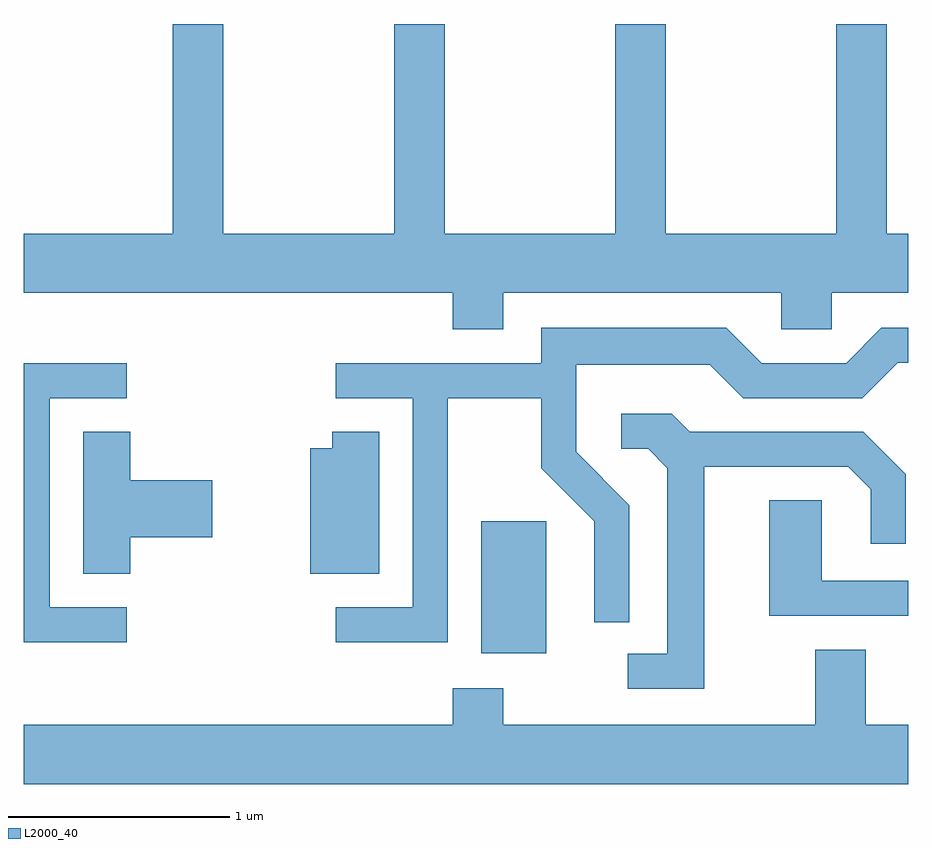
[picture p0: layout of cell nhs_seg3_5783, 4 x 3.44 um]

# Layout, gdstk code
import gdstk
lib = gdstk.Library(unit=1e-6, precision=1e-09)
def R(c, l, rs):  # rectangles x0, y0, x1, y1
    for r in rs: c.add(gdstk.rectangle(r[:2], r[2:], *l))
def P(c, l, *ps):  # polygons
    for p in ps: c.add(gdstk.Polygon(p, *l))
L2000_40 = (2000, 40)

nhs_seg3_5783 = lib.new_cell('nhs_seg3_5783')
R(nhs_seg3_5783, L2000_40, [(357.681,1131.046,357.974,1131.644)])
P(nhs_seg3_5783, L2000_40, [(357.779,1132.676),(359.036,1132.676),(359.036,1132.511),(359.264,1132.511),(359.264,1132.676),(359.611,1132.676),(359.611,1132.944),(359.514,1132.944),(359.514,1133.892),(359.286,1133.892),(359.286,1132.944),(358.514,1132.944),(358.514,1133.892),(358.286,1133.892),(358.286,1132.944),(357.514,1132.944),(357.514,1133.892),(357.286,1133.892),(357.286,1132.944),(356.514,1132.944),(356.514,1133.892),(356.286,1133.892),(356.286,1132.944),(355.611,1132.944),(355.611,1132.676),(357.551,1132.676),(357.551,1132.511),(357.779,1132.511)],
  [(357.529,1132.201),(357.951,1132.201),(357.951,1131.884),(358.191,1131.644),(358.191,1131.188),(358.349,1131.188),(358.349,1131.717),(358.109,1131.957),(358.109,1132.351),(358.714,1132.351),(358.864,1132.201),(359.402,1132.201),(359.562,1132.361),(359.611,1132.361),(359.611,1132.519),(359.489,1132.519),(359.329,1132.359),(358.947,1132.359),(358.787,1132.519),(357.951,1132.519),(357.951,1132.359),(357.023,1132.359),(357.023,1132.201),(357.371,1132.201),(357.371,1131.254),(357.023,1131.254),(357.023,1131.096),(357.529,1131.096)],
  [(356.078,1131.254),(355.729,1131.254),(355.729,1132.201),(356.078,1132.201),(356.078,1132.359),(355.611,1132.359),(355.611,1131.096),(356.078,1131.096)],
  [(358.689,1131.891),(359.339,1131.891),(359.441,1131.789),(359.441,1131.543),(359.599,1131.543),(359.599,1131.857),(359.407,1132.049),(358.622,1132.049),(358.542,1132.129),(358.313,1132.129),(358.313,1131.971),(358.434,1131.971),(358.521,1131.884),(358.521,1131.044),(358.343,1131.044),(358.343,1130.886),(358.689,1130.886)],
  [(357.219,1132.049),(357.006,1132.049),(357.006,1131.974),(356.906,1131.974),(356.906,1131.406),(357.219,1131.406)],
  [(356.094,1131.571),(356.464,1131.571),(356.464,1131.829),(356.094,1131.829),(356.094,1132.049),(355.881,1132.049),(355.881,1131.406),(356.094,1131.406)],
  [(359.611,1131.374),(359.219,1131.374),(359.219,1131.739),(358.981,1131.739),(358.981,1131.216),(359.611,1131.216)],
  [(359.611,1130.724),(359.419,1130.724),(359.419,1131.064),(359.191,1131.064),(359.191,1130.724),(357.779,1130.724),(357.779,1130.889),(357.551,1130.889),(357.551,1130.724),(355.611,1130.724),(355.611,1130.456),(359.611,1130.456)])

lib.write_gds('nhs_seg3_5783.gds')
